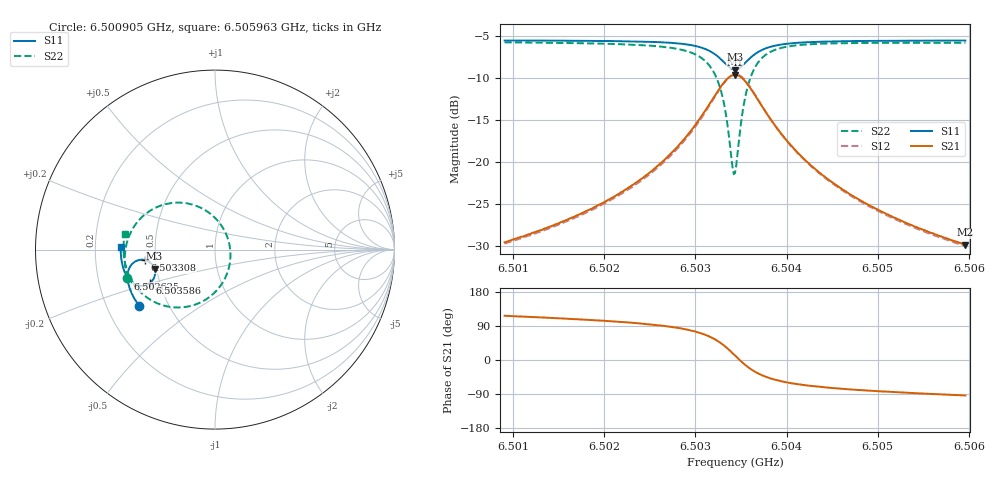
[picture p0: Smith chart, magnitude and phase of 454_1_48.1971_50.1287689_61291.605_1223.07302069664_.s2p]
#  HZ  S  RI  R  50.00
! Rohde & Schwarz Vector Network Analyzer
! Rohde-Schwarz,ZNB20-2Port,1311601062101988,3.16
! Created: UTC 3/20/2024, 11:56:21 AM
! freq[Hz]  re:S11  im:S11  re:S21  im:S21  re:S12  im:S12  re:S22  im:S22
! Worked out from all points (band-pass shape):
!   401 points, 6.500905 GHz to 6.505963 GHz, reference 50 ohm
!   highest |S21| = -9.65 dB at 6.503434 GHz (marker M1); lowest = -29.8 dB at 6.505963 GHz (marker M2)
!   |S21| within 3 dB of the highest: 6.503182 GHz to 6.503687 GHz (505.9 kHz wide, 0.00778 % of centre)
!   lowest |S11| = -9.0 dB at 6.503434 GHz (marker M3), VSWR 2.09, Z = 24.3 - j5.94 ohm
!   |S11| at or under -10 dB: nowhere
!   |S22| runs from -21.5 to -5.8 dB; largest |S21 - S12| = 0.011
!   S11 on the Smith chart (normalised r, x): 6.500905 GHz: 0.34, -0.29; 6.502625 GHz: 0.33, -0.15; 6.503308 GHz: 0.44, -0.06; 6.503586 GHz: 0.44, -0.20; 6.505963 GHz: 0.31, +0.01
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6.5009053e9  -0.4243 -0.3119  -0.015 0.0297  -0.0133 0.0299  -0.488 -0.1591
6.5017524e9  -0.4611 -0.2495  -0.0144 0.0475  -0.012 0.0471  -0.5021 -0.0699
6.5022202e9  -0.4777 -0.2082  -0.0116 0.0668  -0.0085 0.0656  -0.4994 -0.004
6.5025995e9  -0.4868 -0.1666  -0.00255 0.096  0.000989 0.0938  -0.4803 0.0711
6.5026248e9  -0.4871 -0.1633  -0.0015 0.0987  0.00226 0.0964  -0.4781 0.0774
6.5029156e9  -0.4834 -0.1187  0.0257 0.1425  0.0294 0.1382  -0.4217 0.1663
6.5031052e9  -0.4622 -0.0806  0.0794 0.1846  0.0821 0.1786  -0.3188 0.2388
6.503219e9  -0.4299 -0.0599  0.1484 0.2023  0.1492 0.1961  -0.195 0.2616
6.5033075e9  -0.3895 -0.0581  0.2277 0.1864  0.2281 0.1813  -0.0581 0.2218
6.5033455e9  -0.3702 -0.0656  0.264 0.1635  0.2649 0.1589  0.00186 0.1751
6.5034087e9  -0.3433 -0.0922  0.3118 0.0997  0.3145 0.0947  0.0743 0.0527
6.503434e9  -0.337 -0.1069  0.3221 0.0675  0.3256 0.0618  0.0854 -0.00757
6.5034592e9  -0.3339 -0.1227  0.3258 0.0339  0.3295 0.027  0.0836 -0.069
6.5035225e9  -0.3409 -0.1599  0.3079 -0.0443  0.3103 -0.0542  0.0286 -0.2045
6.5035857e9  -0.3622 -0.186  0.2651 -0.0984  0.2642 -0.1098  -0.068 -0.2879
6.5036868e9  -0.4017 -0.2013  0.1904 -0.1348  0.185 -0.1445  -0.2181 -0.3224
6.5038512e9  -0.4479 -0.1918  0.1086 -0.132  0.1017 -0.137  -0.3655 -0.2758
6.5040282e9  -0.4753 -0.1704  0.064 -0.112  0.0578 -0.1141  -0.4378 -0.2112
6.5042811e9  -0.4962 -0.1405  0.034 -0.0876  0.0293 -0.0882  -0.4812 -0.1392
6.5046856e9  -0.5126 -0.0986  0.0141 -0.0631  0.0109 -0.0628  -0.5045 -0.0601
6.5051282e9  -0.5211 -0.0578  0.005 -0.0479  0.00281 -0.0472  -0.51 0.00151
6.5059626e9  -0.526 0.0128  -0.00204 -0.0322  -0.00328 -0.0314  -0.5022 0.0893
